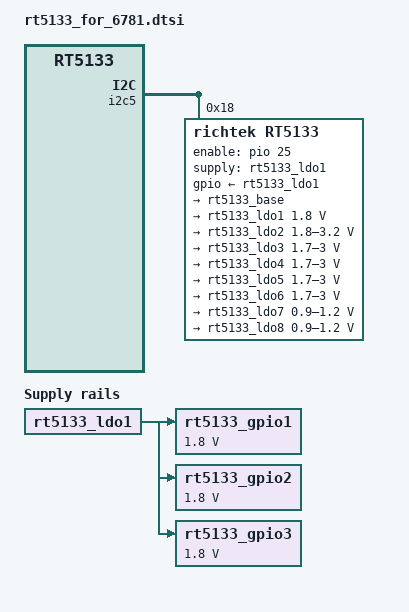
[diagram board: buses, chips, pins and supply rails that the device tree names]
// SPDX-License-Identifier: GPL-2.0-only
/* Richtek RT5133 Camera PMIC LDO & GPIO bindings for MediaTek MT6781 on Kernel 6.6 */

&odm {
    rt5133_eint: rt5133-eint {
    };
    rt5133_gpio1: rt5133-gpio1 {
        compatible = "regulator-fixed";
        regulator-name = "rt5133-gpio1";
        regulator-min-microvolt = <0x1b7740>;
        regulator-max-microvolt = <0x1b7740>;
        vin-supply = <&rt5133_ldo1>;
        enable-active-high;
        gpio = <0xc9 0x0 0x0>;
    };
    rt5133_gpio2: rt5133-gpio2 {
        compatible = "regulator-fixed";
        regulator-name = "rt5133-gpio2";
        regulator-min-microvolt = <0x1b7740>;
        regulator-max-microvolt = <0x1b7740>;
        vin-supply = <&rt5133_ldo1>;
        enable-active-high;
        gpio = <0xc9 0x1 0x0>;
    };
    rt5133_gpio3: rt5133-gpio3 {
        compatible = "regulator-fixed";
        regulator-name = "rt5133-gpio3";
        regulator-min-microvolt = <0x1b7740>;
        regulator-max-microvolt = <0x1b7740>;
        vin-supply = <&rt5133_ldo1>;
        enable-active-high;
        gpio = <0xc9 0x2 0x0>;
    };
};

&i2c5 {
    rt5133: rt5133@18 {
        status = "ok";
        compatible = "richtek,rt5133";
        reg = <0x18>;
        wakeup-source;
        interrupts-extended = <0x34 0xb 0x2>;
        enable-gpio = <&pio 25 GPIO_ACTIVE_HIGH>;
        gpio-supply = <&rt5133_ldo1>;
        gpio-controller;
        #gpio-cells = <0x2>;
        regulators {
            rt5133_base: BASE {
                regulator-name = "rt5133,base";
                oc-shutdown-all = <0x0>;
                pgb-shutdown-all = <0x0>;
            };
            rt5133_ldo1: LDO1 {
                regulator-name = "rt5133-ldo1";
                regulator-min-microvolt = <0x1b7740>;
                regulator-max-microvolt = <0x1b7740>;
                regulator-active-discharge;
                oc-ptsel = <0x1>;
                pgb-ptsel = <0x1>;
                soft-start-time-sel = <0x1>;
            };
            rt5133_ldo2: LDO2 {
                regulator-name = "rt5133-ldo2";
                regulator-min-microvolt = <0x1b7740>;
                regulator-max-microvolt = <0x30d400>;
                regulator-active-discharge;
                oc-ptsel = <0x1>;
                pgb-ptsel = <0x1>;
                soft-start-time-sel = <0x1>;
            };
            rt5133_ldo3: LDO3 {
                regulator-name = "rt5133-ldo3";
                regulator-min-microvolt = <0x19f0a0>;
                regulator-max-microvolt = <0x2dc6c0>;
                regulator-active-discharge;
                oc-ptsel = <0x1>;
                pgb-ptsel = <0x1>;
                soft-start-time-sel = <0x1>;
            };
            rt5133_ldo4: LDO4 {
                regulator-name = "rt5133-ldo4";
                regulator-min-microvolt = <0x19f0a0>;
                regulator-max-microvolt = <0x2dc6c0>;
                regulator-active-discharge;
                oc-ptsel = <0x1>;
                pgb-ptsel = <0x1>;
                soft-start-time-sel = <0x1>;
            };
            rt5133_ldo5: LDO5 {
                regulator-name = "rt5133-ldo5";
                regulator-min-microvolt = <0x19f0a0>;
                regulator-max-microvolt = <0x2dc6c0>;
                regulator-active-discharge;
                oc-ptsel = <0x1>;
                pgb-ptsel = <0x1>;
                soft-start-time-sel = <0x1>;
            };
            rt5133_ldo6: LDO6 {
                regulator-name = "rt5133-ldo6";
                regulator-min-microvolt = <0x19f0a0>;
                regulator-max-microvolt = <0x2dc6c0>;
                regulator-active-discharge;
                oc-ptsel = <0x1>;
                pgb-ptsel = <0x1>;
                soft-start-time-sel = <0x1>;
            };
            rt5133_ldo7: LDO7 {
                regulator-name = "rt5133-ldo7";
                regulator-min-microvolt = <0xdbba0>;
                regulator-max-microvolt = <0x124f80>;
                regulator-active-discharge;
                oc-ptsel = <0x1>;
                pgb-ptsel = <0x1>;
                soft-start-time-sel = <0x1>;
            };
            rt5133_ldo8: LDO8 {
                regulator-name = "rt5133-ldo8";
                regulator-min-microvolt = <0xdbba0>;
                regulator-max-microvolt = <0x124f80>;
                regulator-active-discharge;
                oc-ptsel = <0x1>;
                pgb-ptsel = <0x1>;
                soft-start-time-sel = <0x1>;
            };
        };
    };
};
